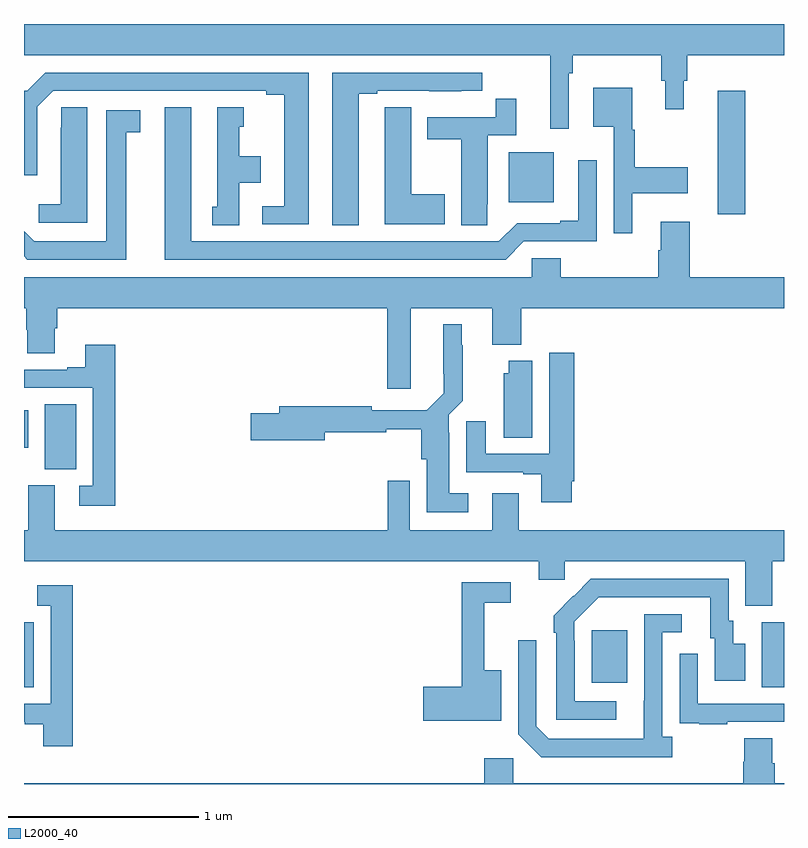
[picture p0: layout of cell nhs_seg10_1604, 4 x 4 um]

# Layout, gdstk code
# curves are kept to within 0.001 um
import gdstk
lib = gdstk.Library(unit=1e-6, precision=1e-09)
def R(c, l, rs):  # rectangles x0, y0, x1, y1
    for r in rs: c.add(gdstk.rectangle(r[:2], r[2:], *l))
def P(c, l, *ps):  # polygons
    for p in ps: c.add(gdstk.Polygon(p, *l))
L2000_40 = (2000, 40)

nhs_seg10_1604 = lib.new_cell('nhs_seg10_1604')
R(nhs_seg10_1604, L2000_40, [(195,1277.008,195.052,1277.352), (198.884,1277.008,199,1277.352), (197.987,1277.033,198.175,1277.308), (195.11,1278.157,195.274,1278.5), (195,1278.269,195.022,1278.466), (198.65,1279.5,198.797,1280.149), (197.552,1279.562,197.788,1279.825)])
P(nhs_seg10_1604, L2000_40, [(197.868,1280.24),(197.888,1280.24),(197.888,1280.336),(198.355,1280.336),(198.355,1280.202),(198.374,1280.202),(198.374,1280.052),(198.472,1280.052),(198.472,1280.202),(198.491,1280.202),(198.491,1280.336),(199,1280.336),(199,1280.5),(195,1280.5),(195,1280.336),(197.771,1280.336),(197.771,1279.95),(197.868,1279.95)],
  [(196.762,1280.133),(196.858,1280.133),(196.858,1280.148),(197.134,1280.148),(197.134,1280.147),(197.3,1280.147),(197.3,1280.148),(197.413,1280.148),(197.413,1280.244),(196.622,1280.244),(196.622,1279.441),(196.762,1279.441)],
  [(196.498,1280.244),(195.113,1280.244),(195.017,1280.148),(195,1280.148),(195,1279.704),(195.069,1279.704),(195.069,1280.064),(195.153,1280.148),(196.274,1280.148),(196.274,1280.128),(196.37,1280.128),(196.37,1279.542),(196.254,1279.542),(196.254,1279.446),(196.498,1279.446)],
  [(198.202,1279.61),(198.493,1279.61),(198.493,1279.745),(198.214,1279.745),(198.214,1279.944),(198.202,1279.944),(198.202,1280.164),(197.996,1280.164),(197.996,1279.958),(198.105,1279.958),(198.105,1279.398),(198.202,1279.398)],
  [(197.439,1279.552),(197.44,1279.552),(197.44,1279.914),(197.591,1279.914),(197.591,1280.107),(197.482,1280.107),(197.482,1280.01),(197.123,1280.01),(197.123,1279.894),(197.3,1279.894),(197.3,1279.441),(197.439,1279.441)],
  [(197.215,1279.605),(197.038,1279.605),(197.038,1280.063),(196.899,1280.063),(196.899,1279.955),(196.898,1279.955),(196.898,1279.445),(197.215,1279.445)],
  [(195.334,1280.063),(195.195,1280.063),(195.195,1279.955),(195.194,1279.955),(195.194,1279.552),(195.078,1279.552),(195.078,1279.455),(195.334,1279.455)],
  [(196.132,1279.664),(196.246,1279.664),(196.246,1279.804),(196.132,1279.804),(196.132,1279.959),(196.156,1279.959),(196.156,1280.062),(196.016,1280.062),(196.016,1279.539),(195.992,1279.539),(195.992,1279.441),(196.132,1279.441)],
  [(197.631,1279.356),(198.015,1279.356),(198.015,1279.783),(197.918,1279.783),(197.918,1279.465),(197.822,1279.465),(197.822,1279.452),(197.595,1279.452),(197.499,1279.356),(195.88,1279.356),(195.88,1280.062),(195.74,1280.062),(195.74,1279.26),(197.535,1279.26)],
  [(195.538,1279.93),(195.613,1279.93),(195.613,1280.046),(195.434,1280.046),(195.434,1279.356),(195.054,1279.356),(195,1279.41),(195,1279.278),(195.018,1279.26),(195.538,1279.26)],
  [(197.035,1279.004),(197.465,1279.004),(197.465,1278.812),(197.618,1278.812),(197.618,1279.004),(199,1279.004),(199,1279.168),(198.503,1279.168),(198.503,1279.459),(198.35,1279.459),(198.35,1279.31),(198.338,1279.31),(198.338,1279.168),(197.825,1279.168),(197.825,1279.266),(197.673,1279.266),(197.673,1279.168),(195,1279.168),(195,1279.004),(195.011,1279.004),(195.011,1278.891),(195.016,1278.891),(195.016,1278.766),(195.163,1278.766),(195.163,1278.898),(195.176,1278.898),(195.176,1279.004),(196.913,1279.004),(196.913,1278.579),(197.035,1278.579)],
  [(197.338,1278.031),(197.239,1278.031),(197.239,1278.35),(197.235,1278.35),(197.235,1278.444),(197.309,1278.518),(197.309,1278.809),(197.305,1278.809),(197.305,1278.919),(197.207,1278.919),(197.208,1278.556),(197.12,1278.468),(196.829,1278.468),(196.829,1278.488),(196.343,1278.488),(196.343,1278.452),(196.194,1278.452),(196.194,1278.31),(196.582,1278.31),(196.582,1278.352),(196.906,1278.352),(196.906,1278.367),(197.09,1278.367),(197.09,1278.21),(197.12,1278.21),(197.12,1277.93),(197.338,1277.93)],
  [(195.479,1278.811),(195.323,1278.811),(195.323,1278.694),(195.227,1278.694),(195.227,1278.681),(195,1278.681),(195,1278.585),(195.363,1278.585),(195.363,1278.069),(195.291,1278.069),(195.291,1277.964),(195.479,1277.964)],
  [(197.884,1278.094),(197.897,1278.094),(197.897,1278.769),(197.765,1278.769),(197.765,1278.237),(197.431,1278.237),(197.431,1278.409),(197.327,1278.409),(197.327,1278.141),(197.627,1278.141),(197.627,1278.129),(197.723,1278.129),(197.723,1277.982),(197.884,1277.982)],
  [(197.674,1278.727),(197.552,1278.727),(197.552,1278.663),(197.525,1278.663),(197.525,1278.322),(197.674,1278.322)],
  [(198.937,1277.672),(199,1277.672),(199,1277.836),(197.605,1277.836),(197.605,1278.031),(197.465,1278.031),(197.465,1277.836),(197.031,1277.836),(197.031,1278.097),(196.915,1278.097),(196.915,1277.836),(195.163,1277.836),(195.163,1278.072),(195.023,1278.072),(195.023,1277.836),(195,1277.836),(195,1277.672),(197.708,1277.672),(197.708,1277.574),(197.847,1277.574),(197.847,1277.672),(198.797,1277.672),(198.797,1277.437),(198.937,1277.437)],
  [(198.118,1276.935),(197.898,1276.935),(197.898,1277.255),(197.895,1277.255),(197.895,1277.355),(198.024,1277.484),(198.611,1277.484),(198.611,1277.268),(198.635,1277.268),(198.635,1277.043),(198.796,1277.043),(198.796,1277.239),(198.733,1277.239),(198.733,1277.358),(198.708,1277.358),(198.708,1277.58),(197.984,1277.58),(197.787,1277.385),(197.787,1277.297),(197.802,1277.297),(197.802,1276.839),(198.118,1276.839)],
  [(197.512,1277.098),(197.423,1277.098),(197.423,1277.454),(197.563,1277.454),(197.563,1277.562),(197.305,1277.562),(197.305,1277.012),(197.1,1277.012),(197.1,1276.834),(197.512,1276.834)],
  [(195.257,1277.545),(195.069,1277.545),(195.069,1277.439),(195.141,1277.439),(195.141,1276.923),(195,1276.923),(195,1276.827),(195.005,1276.827),(195.005,1276.815),(195.101,1276.815),(195.101,1276.698),(195.257,1276.698)],
  [(198.412,1276.75),(198.36,1276.75),(198.36,1277.298),(198.463,1277.298),(198.463,1277.394),(198.264,1277.394),(198.263,1276.737),(197.763,1276.737),(197.697,1276.803),(197.697,1277.257),(197.601,1277.257),(197.601,1276.761),(197.722,1276.64),(198.412,1276.64)],
  [(198.701,1276.827),(199,1276.827),(199,1276.923),(198.546,1276.923),(198.546,1277.185),(198.45,1277.185),(198.45,1276.93),(198.451,1276.93),(198.451,1276.821),(198.553,1276.821),(198.553,1276.815),(198.701,1276.815)],
  [(199,1276.504),(198.95,1276.504),(198.95,1276.61),(198.937,1276.61),(198.937,1276.742),(198.79,1276.742),(198.79,1276.617),(198.785,1276.617),(198.785,1276.504),(197.574,1276.504),(197.574,1276.636),(197.423,1276.636),(197.423,1276.504),(195,1276.504),(195,1276.5),(199,1276.5)])

lib.write_gds('nhs_seg10_1604.gds')
